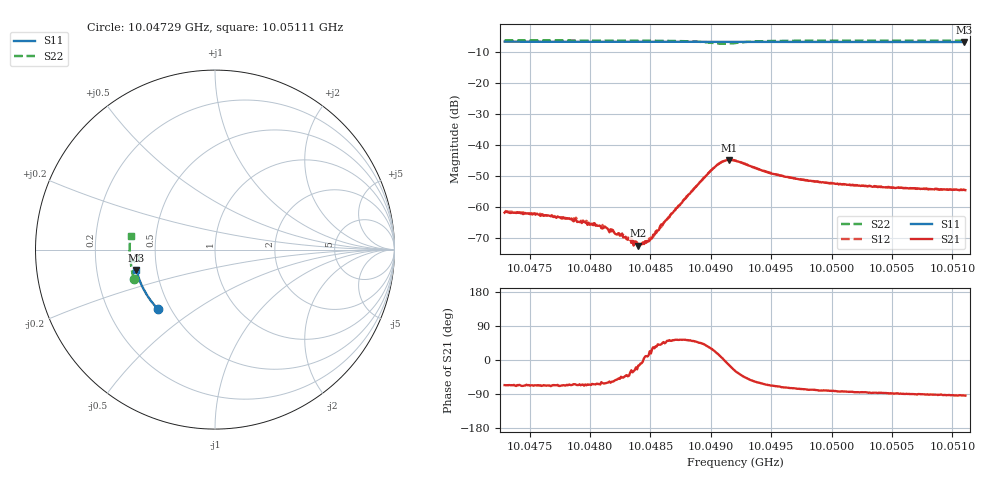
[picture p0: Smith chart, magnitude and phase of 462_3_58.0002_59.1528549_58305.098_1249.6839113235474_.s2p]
#  HZ  S  RI  R  50.00
! Rohde & Schwarz Vector Network Analyzer
! Rohde-Schwarz,ZNB20-2Port,1311601062101988,3.16
! Created: UTC 3/21/2024, 1:11:01 AM
! freq[Hz]  re:S11  im:S11  re:S21  im:S21  re:S12  im:S12  re:S22  im:S22
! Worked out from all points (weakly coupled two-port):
!   401 points, 10.04729 GHz to 10.05111 GHz, reference 50 ohm
!   highest |S21| = -44.76 dB at 10.04915 GHz (marker M1); lowest = -72.3 dB at 10.0484 GHz (marker M2)
!   lowest |S11| = -6.9 dB at 10.0511 GHz (marker M3), VSWR 2.65, Z = 19.1 - j5.45 ohm
!   |S11| at or under -10 dB: nowhere
!   |S22| runs from -7.5 to -6.4 dB; largest |S21 - S12| = 0.00046
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1.0047293e10  -0.319 -0.3297  0.00033 -0.000751  0.00043 -0.000775  -0.4508 -0.1627
1.0047551e10  -0.3307 -0.3174  0.000305 -0.000712  0.000355 -0.000669  -0.4561 -0.1458
1.0047598e10  -0.3327 -0.315  0.000275 -0.000697  0.000342 -0.000688  -0.457 -0.1427
1.0047827e10  -0.3424 -0.3035  0.000286 -0.000604  0.000317 -0.000578  -0.461 -0.1272
1.0047932e10  -0.347 -0.2981  0.000234 -0.000509  0.000271 -0.000536  -0.4624 -0.1199
1.0048085e10  -0.3533 -0.2902  0.000214 -0.000455  0.000289 -0.000436  -0.4646 -0.1091
1.0048133e10  -0.3551 -0.2878  0.000229 -0.000414  0.000234 -0.000393  -0.4653 -0.1056
1.0048266e10  -0.3604 -0.2806  0.000263 -0.000274  0.000273 -0.000225  -0.4668 -0.0957
1.00484e10  -0.3655 -0.2736  0.000234 -6.18e-05  0.000236 -5.89e-05  -0.4677 -0.0854
1.0048438e10  -0.3669 -0.2716  0.000273 -1.84e-05  0.00026 3.2e-05  -0.4679 -0.0823
1.0048485e10  -0.3687 -0.2691  0.000276 6.1e-05  0.000263 0.000114  -0.468 -0.0784
1.0048571e10  -0.3719 -0.2641  0.000331 0.000282  0.000318 0.000327  -0.468 -0.0709
1.0048695e10  -0.3764 -0.2573  0.000531 0.000687  0.0005 0.000729  -0.4666 -0.0593
1.0049001e10  -0.3867 -0.2401  0.00333 0.00199  0.00321 0.00219  -0.4397 -0.031
1.0049077e10  -0.3888 -0.2358  0.00508 0.000963  0.00505 0.00126  -0.425 -0.0385
1.0049153e10  -0.3911 -0.2317  0.0056 -0.00143  0.00573 -0.00109  -0.4232 -0.0571
1.0049201e10  -0.3928 -0.2291  0.00493 -0.00267  0.00518 -0.00234  -0.4312 -0.0653
1.0049506e10  -0.4024 -0.2114  0.00133 -0.0032  0.00156 -0.00317  -0.468 -0.0458
1.004984e10  -0.4117 -0.1915  0.000527 -0.00258  0.000659 -0.00256  -0.4749 -0.0166
1.0050479e10  -0.4268 -0.1524  5.5e-05 -0.00209  0.000206 -0.0021  -0.4753 0.0304
1.0051099e10  -0.4377 -0.1133  -0.000119 -0.00191  -6.1e-06 -0.0019  -0.4706 0.0726
1.0051109e10  -0.4379 -0.1127  -0.000135 -0.00188  -3.87e-05 -0.00191  -0.4705 0.0732
